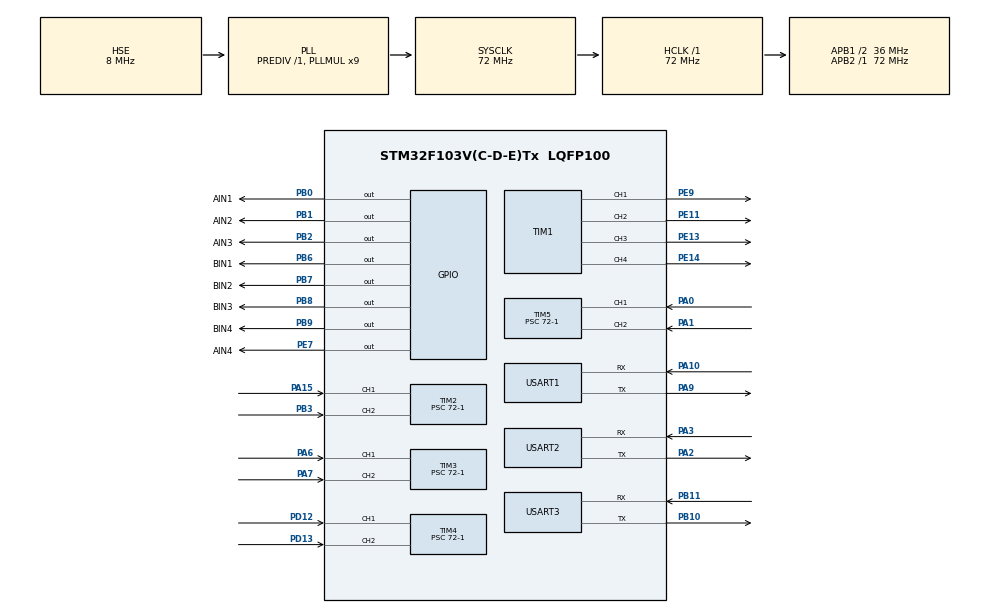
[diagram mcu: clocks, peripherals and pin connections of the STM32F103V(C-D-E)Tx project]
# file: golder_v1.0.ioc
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Dma.Request0=USART3_RX
Dma.Request1=USART2_RX
Dma.Request2=USART1_RX
Dma.USART1_RX.2.Direction=DMA_PERIPH_TO_MEMORY
Dma.USART1_RX.2.Instance=DMA1_Channel5
Dma.USART1_RX.2.MemDataAlignment=DMA_MDATAALIGN_BYTE
Dma.USART1_RX.2.MemInc=DMA_MINC_ENABLE
Dma.USART1_RX.2.Mode=DMA_NORMAL
Dma.USART1_RX.2.PeriphDataAlignment=DMA_PDATAALIGN_BYTE
Dma.USART1_RX.2.PeriphInc=DMA_PINC_DISABLE
Dma.USART1_RX.2.Priority=DMA_PRIORITY_LOW
Dma.USART2_RX.1.Direction=DMA_PERIPH_TO_MEMORY
Dma.USART2_RX.1.Instance=DMA1_Channel6
Dma.USART2_RX.1.MemDataAlignment=DMA_MDATAALIGN_BYTE
Dma.USART2_RX.1.MemInc=DMA_MINC_ENABLE
Dma.USART2_RX.1.Mode=DMA_NORMAL
Dma.USART2_RX.1.PeriphDataAlignment=DMA_PDATAALIGN_BYTE
Dma.USART2_RX.1.PeriphInc=DMA_PINC_DISABLE
Dma.USART2_RX.1.Priority=DMA_PRIORITY_LOW
Dma.USART3_RX.0.Direction=DMA_PERIPH_TO_MEMORY
Dma.USART3_RX.0.Instance=DMA1_Channel3
Dma.USART3_RX.0.MemDataAlignment=DMA_MDATAALIGN_BYTE
Dma.USART3_RX.0.MemInc=DMA_MINC_ENABLE
Dma.USART3_RX.0.Mode=DMA_NORMAL
Dma.USART3_RX.0.PeriphDataAlignment=DMA_PDATAALIGN_BYTE
Dma.USART3_RX.0.PeriphInc=DMA_PINC_DISABLE
Dma.USART3_RX.0.Priority=DMA_PRIORITY_LOW
FREERTOS.INCLUDE_vTaskDelayUntil=1
FREERTOS.INCLUDE_xEventGroupSetBitFromISR=1
FREERTOS.INCLUDE_xTimerPendFunctionCall=1
FREERTOS.MEMORY_ALLOCATION=0
FREERTOS.Tasks01=PID,-2,128,vTaskPID,Default,NULL,Dynamic,NULL,NULL;IMU,-1,128,vTaskIMU,Default,NULL,Dynamic,NULL,NULL;GOLD,0,256,vTaskGOLD,Default,NULL,Dynamic,NULL,NULL;MSGS,1,128,vTaskMSGS,Default,NULL,Dynamic,NULL,NULL;START,-3,128,vTaskSTART,Default,NULL,Dynamic,NULL,NULL
FREERTOS.configLIBRARY_MAX_SYSCALL_INTERRUPT_PRIORITY=1
FREERTOS.configTOTAL_HEAP_SIZE=5604
FREERTOS.configUSE_TIMERS=1
Mcu.Family=STM32F1
Mcu.Name=STM32F103V(C-D-E)Tx
Mcu.Package=LQFP100
NVIC.DMA1_Channel3_IRQn=true\:0\:0\:false\:false\:true\:true\:false\:true
NVIC.DMA1_Channel5_IRQn=true\:0\:0\:false\:false\:true\:true\:false\:true
NVIC.DMA1_Channel6_IRQn=true\:0\:0\:false\:false\:true\:true\:false\:true
NVIC.PriorityGroup=NVIC_PRIORITYGROUP_4
NVIC.TIM8_UP_IRQn=true\:0\:0\:false\:false\:true\:false\:false\:true
NVIC.TimeBase=TIM8_UP_IRQn
NVIC.TimeBaseIP=TIM8
NVIC.USART1_IRQn=true\:2\:0\:true\:false\:true\:false\:true\:true
NVIC.USART2_IRQn=true\:1\:0\:true\:false\:true\:false\:true\:true
NVIC.USART3_IRQn=true\:1\:0\:true\:false\:true\:false\:true\:true
OSC_IN.Mode=HSE-External-Oscillator
OSC_IN.Signal=RCC_OSC_IN
OSC_OUT.Mode=HSE-External-Oscillator
OSC_OUT.Signal=RCC_OSC_OUT
PA0-WKUP.Signal=S_TIM5_CH1
PA1.Signal=S_TIM5_CH2
PA10.Mode=Asynchronous
PA10.Signal=USART1_RX
PA13.Mode=Serial_Wire
PA13.Signal=SYS_JTMS-SWDIO
PA14.Mode=Serial_Wire
PA14.Signal=SYS_JTCK-SWCLK
PA15.Signal=S_TIM2_CH1_ETR
PA2.Mode=Asynchronous
PA2.Signal=USART2_TX
PA3.Mode=Asynchronous
PA3.Signal=USART2_RX
PA6.Signal=S_TIM3_CH1
PA7.Signal=S_TIM3_CH2
PA9.Mode=Asynchronous
PA9.Signal=USART1_TX
PB0.GPIO_Label=AIN1
PB0.Signal=GPIO_Output
PB1.GPIO_Label=AIN2
PB1.Signal=GPIO_Output
PB10.Mode=Asynchronous
PB10.Signal=USART3_TX
PB11.Mode=Asynchronous
PB11.Signal=USART3_RX
PB2.GPIO_Label=AIN3
PB2.Signal=GPIO_Output
PB3.Signal=S_TIM2_CH2
PB6.GPIO_Label=BIN1
PB6.Signal=GPIO_Output
PB7.GPIO_Label=BIN2
PB7.Signal=GPIO_Output
PB8.GPIO_Label=BIN3
PB8.Signal=GPIO_Output
PB9.GPIO_Label=BIN4
PB9.Signal=GPIO_Output
PD12.Signal=S_TIM4_CH1
PD13.Signal=S_TIM4_CH2
PE11.Signal=S_TIM1_CH2
PE13.Signal=S_TIM1_CH3
PE14.Signal=S_TIM1_CH4
PE7.GPIO_Label=AIN4
PE7.Signal=GPIO_Output
PE9.Signal=S_TIM1_CH1
ProjectManager.HeapSize=0x200
ProjectManager.StackSize=0x400
ProjectManager.TargetToolchain=Makefile
RCC.AHBFreq_Value=72000000
RCC.APB1CLKDivider=RCC_HCLK_DIV2
RCC.APB1Freq_Value=36000000
RCC.APB1TimFreq_Value=72000000
RCC.APB2Freq_Value=72000000
RCC.APB2TimFreq_Value=72000000
RCC.HCLKFreq_Value=72000000
RCC.PLLMUL=RCC_PLL_MUL9
RCC.PLLSourceVirtual=RCC_PLLSOURCE_HSE
RCC.SYSCLKFreq_VALUE=72000000
RCC.SYSCLKSource=RCC_SYSCLKSOURCE_PLLCLK
RCC.USBFreq_Value=72000000
SH.S_TIM1_CH1.0=TIM1_CH1,PWM Generation1 CH1
SH.S_TIM1_CH2.0=TIM1_CH2,PWM Generation2 CH2
SH.S_TIM1_CH3.0=TIM1_CH3,PWM Generation3 CH3
SH.S_TIM1_CH4.0=TIM1_CH4,PWM Generation4 CH4
SH.S_TIM2_CH1_ETR.0=TIM2_CH1,Encoder_Interface
SH.S_TIM2_CH2.0=TIM2_CH2,Encoder_Interface
SH.S_TIM3_CH1.0=TIM3_CH1,Encoder_Interface
SH.S_TIM3_CH2.0=TIM3_CH2,Encoder_Interface
SH.S_TIM4_CH1.0=TIM4_CH1,Encoder_Interface
SH.S_TIM4_CH2.0=TIM4_CH2,Encoder_Interface
SH.S_TIM5_CH1.0=TIM5_CH1,Encoder_Interface
SH.S_TIM5_CH2.0=TIM5_CH2,Encoder_Interface
TIM1.Channel-PWM\ Generation1\ CH1=TIM_CHANNEL_1
TIM1.Channel-PWM\ Generation2\ CH2=TIM_CHANNEL_2
TIM1.Channel-PWM\ Generation3\ CH3=TIM_CHANNEL_3
TIM1.Channel-PWM\ Generation4\ CH4=TIM_CHANNEL_4
TIM2.Period=5000
TIM2.Prescaler=72-1
TIM3.Period=5000
TIM3.Prescaler=72-1
TIM4.Period=5000
TIM4.Prescaler=72-1
TIM5.Period=5000
TIM5.Prescaler=72-1
USART1.VirtualMode=VM_ASYNC
USART2.VirtualMode=VM_ASYNC
USART3.VirtualMode=VM_ASYNC
VP_FREERTOS_VS_CMSIS_V1.Mode=CMSIS_V1
VP_SYS_VS_tim8.Mode=TIM8
board=custom

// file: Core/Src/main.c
/* USER CODE BEGIN Header */
/**
  ******************************************************************************
  * @file           : main.c
  * @brief          : Main program body
  ******************************************************************************
  * @attention
  *
  * <h2><center>&copy; Copyright (c) 2021 STMicroelectronics.
  * All rights reserved.</center></h2>
  *
  * This software component is licensed by ST under Ultimate Liberty license
  * SLA0044, the "License"; You may not use this file except in compliance with
  * the License. You may obtain a copy of the License at:
  *                             www.st.com/SLA0044
  *
  ******************************************************************************
  */
/* USER CODE END Header */
#include "main.h"
#include "cmsis_os.h"
#include "dma.h"
#include "tim.h"
#include "usart.h"
#include "gpio.h"

/* USER CODE BEGIN PD */
#define BIT_0 (1 << 0)
#define BIT_1 (1 << 1)
#define imuRxBufferLength 15
#define msgsRxBufferLength 6
#define highRxBufferLength 200
/* USER CODE END PD */

/* USER CODE BEGIN PV */
uint8_t imuIndex;
uint8_t msgsRxLen;
uint8_t msgsRxBuffer[msgsRxBufferLength];
uint8_t imuRxBuffer[imuRxBufferLength];
uint8_t highRxBuffer[highRxBufferLength];

extern TaskHandle_t xHandleTaskSTART;
extern TaskHandle_t xHandleTaskMSGS;
extern TaskHandle_t xHandleTaskGOLD;
extern TaskHandle_t xHandleTaskIMU;
extern TaskHandle_t xHandleTaskPID;

extern EventGroupHandle_t xCreatedEventMSGS;
extern EventGroupHandle_t xCreatedEventIMU;
extern EventGroupHandle_t xCreatedEventGOLD;
/* USER CODE END PV */

void SystemClock_Config(void);
void MX_FREERTOS_Init(void);

/* USER CODE BEGIN 0 */
void HAL_UARTEx_RxEventCallback(UART_HandleTypeDef *huart, uint16_t Size)
{
	BaseType_t xResult;
	BaseType_t xHigherPriorityTaskWoken = pdFALSE;

	if(huart->Instance == USART1)
	{
		msgsRxLen = Size;
		xResult = xEventGroupSetBitsFromISR(xCreatedEventMSGS, BIT_0, &xHigherPriorityTaskWoken);

		if(xResult != pdFALSE)
      portYIELD_FROM_ISR(xHigherPriorityTaskWoken);

		#ifdef DEBUG_INFO
      HAL_UART_Transmit(&huart1, msgsRxBuffer, msgsRxBufferLength, 100);
		#endif

		HAL_UARTEx_ReceiveToIdle_DMA(&huart1, msgsRxBuffer, msgsRxBufferLength);
	}

	else if(huart->Instance == USART2)
	{
		for(int i=0;i<=10;i++)
		{
			if(imuRxBuffer[i] == 0x55)
			{
				imuIndex = i;
				break;
			}
		}
		if(imuIndex <= 11)
		{
			xResult = xEventGroupSetBitsFromISR(xCreatedEventIMU, BIT_0, &xHigherPriorityTaskWoken);

			if(xResult != pdFALSE)
        portYIELD_FROM_ISR(xHigherPriorityTaskWoken);

			#ifdef IMU_INFO
			  HAL_UART_Transmit(&huart1, imuRxBuffer, imuRxBufferLength, 100);
			#endif
		}
		else printf("IMU header not find!");

		HAL_UARTEx_ReceiveToIdle_DMA(&huart2, imuRxBuffer, imuRxBufferLength);
	}

  else if(huart->Instance == USART3)
  {
    xResult = xEventGroupSetBitsFromISR(xCreatedEventMSGS, BIT_1, &xHigherPriorityTaskWoken);

    if(xResult != pdFALSE)
      portYIELD_FROM_ISR(xHigherPriorityTaskWoken);

    #ifdef GOLD_INFO
      HAL_UART_Transmit(&huart1, highRxBuffer, highRxBufferLength, 100);
    #endif

    HAL_UARTEx_ReceiveToIdle_DMA(&huart3, highRxBuffer, highRxBufferLength);
  }
}

int fputc(int ch, FILE *f)
{																													//redirect printf
	HAL_UART_Transmit(&huart1,(uint8_t*)&ch,1,100);
  return ch;
}

/* USER CODE END 0 */

int main(void)
{

  /* MCU Configuration--------------------------------------------------------*/

  /* Reset of all peripherals, Initializes the Flash interface and the Systick. */
  HAL_Init();

  /* Configure the system clock */
  SystemClock_Config();

  /* Initialize all configured peripherals */
  MX_GPIO_Init();
  MX_DMA_Init();
  MX_TIM1_Init();
  MX_TIM2_Init();
  MX_TIM3_Init();
  MX_TIM4_Init();
  MX_TIM5_Init();
  MX_USART1_UART_Init();
  MX_USART2_UART_Init();
  MX_USART3_UART_Init();
  /* USER CODE BEGIN 2 */
  HAL_UARTEx_ReceiveToIdle_DMA(&huart1, msgsRxBuffer, msgsRxBufferLength);
  HAL_UARTEx_ReceiveToIdle_DMA(&huart2, imuRxBuffer, imuRxBufferLength);
  HAL_UARTEx_ReceiveToIdle_DMA(&huart3, highRxBuffer, highRxBufferLength);

  HAL_TIM_PWM_Start(&htim1, TIM_CHANNEL_ALL);

  HAL_TIM_Encoder_Start(&htim2, TIM_CHANNEL_ALL);
  HAL_TIM_Encoder_Start(&htim3, TIM_CHANNEL_ALL);
  HAL_TIM_Encoder_Start(&htim4, TIM_CHANNEL_ALL);
  HAL_TIM_Encoder_Start(&htim5, TIM_CHANNEL_ALL);

  /* USER CODE END 2 */

  /* Call init function for freertos objects (in freertos.c) */
  MX_FREERTOS_Init();
  /* Start scheduler */
  osKernelStart();

  /* We should never get here as control is now taken by the scheduler */
  /* Infinite loop */
  while (1)
  {

  }
}

void SystemClock_Config(void)
{
  RCC_OscInitTypeDef RCC_OscInitStruct = {0};
  RCC_ClkInitTypeDef RCC_ClkInitStruct = {0};

  /** Initializes the RCC Oscillators according to the specified parameters
  * in the RCC_OscInitTypeDef structure.
  */
  RCC_OscInitStruct.OscillatorType = RCC_OSCILLATORTYPE_HSE;
  RCC_OscInitStruct.HSEState = RCC_HSE_ON;
  RCC_OscInitStruct.HSEPredivValue = RCC_HSE_PREDIV_DIV1;
  RCC_OscInitStruct.HSIState = RCC_HSI_ON;
  RCC_OscInitStruct.PLL.PLLState = RCC_PLL_ON;
  RCC_OscInitStruct.PLL.PLLSource = RCC_PLLSOURCE_HSE;
  RCC_OscInitStruct.PLL.PLLMUL = RCC_PLL_MUL9;
  if (HAL_RCC_OscConfig(&RCC_OscInitStruct) != HAL_OK)
  {
    Error_Handler();
  }
  /** Initializes the CPU, AHB and APB buses clocks
  */
  RCC_ClkInitStruct.ClockType = RCC_CLOCKTYPE_HCLK|RCC_CLOCKTYPE_SYSCLK
                              |RCC_CLOCKTYPE_PCLK1|RCC_CLOCKTYPE_PCLK2;
  RCC_ClkInitStruct.SYSCLKSource = RCC_SYSCLKSOURCE_PLLCLK;
  RCC_ClkInitStruct.AHBCLKDivider = RCC_SYSCLK_DIV1;
  RCC_ClkInitStruct.APB1CLKDivider = RCC_HCLK_DIV2;
  RCC_ClkInitStruct.APB2CLKDivider = RCC_HCLK_DIV1;

  if (HAL_RCC_ClockConfig(&RCC_ClkInitStruct, FLASH_LATENCY_2) != HAL_OK)
  {
    Error_Handler();
  }
}

void HAL_TIM_PeriodElapsedCallback(TIM_HandleTypeDef *htim)
{
  if (htim->Instance == TIM8) {
    HAL_IncTick();
  }
}

void Error_Handler(void)
{
}

/************************ (C) COPYRIGHT STMicroelectronics *****END OF FILE****/

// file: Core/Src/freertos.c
/* USER CODE BEGIN Header */
/**
  ******************************************************************************
  * File Name          : freertos.c
  * Description        : Code for freertos applications
  ******************************************************************************
  * @attention
  *
  * <h2><center>&copy; Copyright (c) 2021 STMicroelectronics.
  * All rights reserved.</center></h2>
  *
  * This software component is licensed by ST under Ultimate Liberty license
  * SLA0044, the "License"; You may not use this file except in compliance with
  * the License. You may obtain a copy of the License at:
  *                             www.st.com/SLA0044
  *
  ******************************************************************************
  */
/* USER CODE END Header */

#include "FreeRTOS.h"
#include "task.h"
#include "main.h"
#include "cmsis_os.h"

/* USER CODE BEGIN Includes */
#include "motor.h"
#include "tim.h"
#include "gpio.h"
/* USER CODE END Includes */

/* USER CODE BEGIN PD */
#define BIT_0 (1 << 0)
#define BIT_1 (1 << 1)

#define MOTOR_NUM 4
#define PID_CYCLE 50

#define NO 0
#define FRONT 1
#define BACK 2

#define imuRxBufferLength 100
#define msgsRxBufferLength 6
/* USER CODE END PD */

/* USER CODE BEGIN Variables */
pid_instance m[MOTOR_NUM];
short count[MOTOR_NUM];
const float k[MOTOR_NUM] = {0.2084f, 0.1926f, 0.2084f, 0.2084f};
uint16_t pwm[MOTOR_NUM];
float speedActual[MOTOR_NUM];

uint8_t dir = NO;
float speedSet;
float ang = 0;

extern uint8_t imuRxBuffer[imuRxBufferLength];
extern uint8_t imuIndex;

int timeStart = 0;
int timeEnd = 0;

extern uint8_t msgsRxBuffer[msgsRxBufferLength];
extern uint8_t msgsRxLen;

EventGroupHandle_t xCreatedEventMSGS = NULL;
EventGroupHandle_t xCreatedEventIMU = NULL;
EventGroupHandle_t xCreatedEventGOLD = NULL;
/* USER CODE END Variables */
osThreadId PIDHandle;
osThreadId IMUHandle;
osThreadId GOLDHandle;
osThreadId MSGSHandle;
osThreadId STARTHandle;

/* USER CODE BEGIN FunctionPrototypes */

inline void AppObjCreate(void)
{
	xCreatedEventMSGS = xEventGroupCreate();
	xCreatedEventIMU = xEventGroupCreate();
  xCreatedEventGOLD = xEventGroupCreate();
}

inline void motorInit(void)
{
  for(int i=0;i<MOTOR_NUM;i++)
  {
    m[i].Kp = 0.55f;m[i].Ki = 0.25f;m[i].Kd = -0.15f;
    pid_init(&m[i], 0);
  }
	dir = FRONT;
}
/* USER CODE END FunctionPrototypes */

void vTaskPID(void const * argument);
void vTaskIMU(void const * argument);
void vTaskGOLD(void const * argument);
void vTaskMSGS(void const * argument);
void vTaskSTART(void const * argument);

void MX_FREERTOS_Init(void); /* (MISRA C 2004 rule 8.1) */

void MX_FREERTOS_Init(void) {
  /* USER CODE BEGIN Init */
  AppObjCreate();
  motorInit();
  /* USER CODE END Init */

  /* Create the thread(s) */
  /* definition and creation of PID */
  osThreadDef(PID, vTaskPID, osPriorityLow, 0, 128);
  PIDHandle = osThreadCreate(osThread(PID), NULL);

  /* definition and creation of IMU */
  osThreadDef(IMU, vTaskIMU, osPriorityBelowNormal, 0, 128);
  IMUHandle = osThreadCreate(osThread(IMU), NULL);

  /* definition and creation of GOLD */
  osThreadDef(GOLD, vTaskGOLD, osPriorityNormal, 0, 256);
  GOLDHandle = osThreadCreate(osThread(GOLD), NULL);

  /* definition and creation of MSGS */
  osThreadDef(MSGS, vTaskMSGS, osPriorityAboveNormal, 0, 128);
  MSGSHandle = osThreadCreate(osThread(MSGS), NULL);

  /* definition and creation of START */
  osThreadDef(START, vTaskSTART, osPriorityIdle, 0, 128);
  STARTHandle = osThreadCreate(osThread(START), NULL);

}

void vTaskPID(void const * argument)
{
  /* USER CODE BEGIN vTaskPID */
  TickType_t xLastWakeTime;
	xLastWakeTime = xTaskGetTickCount();
  /* Infinite loop */
  for(;;)
  {
    count[0] = __HAL_TIM_GetCounter(&htim2);
    count[1] = __HAL_TIM_GetCounter(&htim3);
    count[2] = __HAL_TIM_GetCounter(&htim4);
    count[3] = __HAL_TIM_GetCounter(&htim5);
    for(int i=0;i<MOTOR_NUM;i++)
    {
      speedActual[i] = k[i] * count[i];
      pwm[i] = pid(&m[i], speedSet - speedActual[i]);
    }
    #ifdef PID_INFO
      printf("%f,%f",speedActual,speedSet);
    #endif

    #ifdef ENCODER_INFO
    for(int i=0;i<MOTOR_NUM;i++)
      printf("count%d:%d", i, count[i]);
    printf("Time:%d", xLastWakeTime - xTaskGetTickCount());
    #else
    __HAL_TIM_SetCounter(&htim2, 0);
    __HAL_TIM_SetCounter(&htim3, 0);
    __HAL_TIM_SetCounter(&htim4, 0);
    __HAL_TIM_SetCounter(&htim5, 0);
    #endif

    __HAL_TIM_SetCompare(&htim1, TIM_CHANNEL_1, pwm[0]);
    __HAL_TIM_SetCompare(&htim1, TIM_CHANNEL_2, pwm[1]);
    __HAL_TIM_SetCompare(&htim1, TIM_CHANNEL_3, pwm[2]);
    __HAL_TIM_SetCompare(&htim1, TIM_CHANNEL_4, pwm[3]);

    if (pwm[0] >= 0)
    {
      HAL_GPIO_WritePin(AIN1_GPIO_Port, AIN1_Pin, GPIO_PIN_SET);
      HAL_GPIO_WritePin(AIN2_GPIO_Port, AIN2_Pin, GPIO_PIN_RESET);
      __HAL_TIM_SetCompare(&htim1, TIM_CHANNEL_1, pwm[0]);
    }
    else
    {
      HAL_GPIO_WritePin(AIN1_GPIO_Port, AIN1_Pin, GPIO_PIN_RESET);
      HAL_GPIO_WritePin(AIN2_GPIO_Port, AIN2_Pin, GPIO_PIN_SET);
      __HAL_TIM_SET_COMPARE(&htim1, TIM_CHANNEL_1, -pwm[0]);
    }
    if (pwm[1] >= 0)
    {
      HAL_GPIO_WritePin(AIN3_GPIO_Port, AIN3_Pin, GPIO_PIN_SET);
      HAL_GPIO_WritePin(AIN4_GPIO_Port, AIN4_Pin, GPIO_PIN_RESET);
      __HAL_TIM_SET_COMPARE(&htim1, TIM_CHANNEL_2, pwm[1]);
    }
    else
    {
      HAL_GPIO_WritePin(AIN3_GPIO_Port, AIN3_Pin, GPIO_PIN_RESET);
      HAL_GPIO_WritePin(AIN4_GPIO_Port, AIN4_Pin, GPIO_PIN_SET);
      __HAL_TIM_SET_COMPARE(&htim1, TIM_CHANNEL_2, -pwm[1]);
    }
    if (pwm[2] >= 0)
    {
      HAL_GPIO_WritePin(BIN1_GPIO_Port, BIN1_Pin, GPIO_PIN_RESET);
      HAL_GPIO_WritePin(BIN2_GPIO_Port, BIN2_Pin, GPIO_PIN_SET);
      __HAL_TIM_SET_COMPARE(&htim1, TIM_CHANNEL_3, pwm[2]);
    }
    else
    {
      HAL_GPIO_WritePin(BIN1_GPIO_Port, BIN1_Pin, GPIO_PIN_SET);
      HAL_GPIO_WritePin(BIN2_GPIO_Port, BIN2_Pin, GPIO_PIN_RESET);
      __HAL_TIM_SET_COMPARE(&htim1, TIM_CHANNEL_3, -pwm[2]);
    }
    if (pwm[3] >= 0)
    {
      HAL_GPIO_WritePin(BIN3_GPIO_Port, BIN3_Pin, GPIO_PIN_SET);
      HAL_GPIO_WritePin(BIN4_GPIO_Port, BIN4_Pin, GPIO_PIN_RESET);
      __HAL_TIM_SET_COMPARE(&htim1, TIM_CHANNEL_4, pwm[3]);
    }
    else
    {
      HAL_GPIO_WritePin(BIN3_GPIO_Port, BIN3_Pin, GPIO_PIN_RESET);
      HAL_GPIO_WritePin(BIN4_GPIO_Port, BIN4_Pin, GPIO_PIN_SET);
      __HAL_TIM_SET_COMPARE(&htim1, TIM_CHANNEL_4, -pwm[3]);
    }

    osDelayUntil(&xLastWakeTime, PID_CYCLE);
  }
  /* USER CODE END vTaskPID */
}

void vTaskIMU(void const * argument)
{
  /* USER CODE BEGIN vTaskIMU */
  EventBits_t uxBits;
  /* Infinite loop */
  for(;;)
  {
    uxBits = xEventGroupWaitBits(xCreatedEventIMU, BIT_0, pdTRUE, pdFALSE, portMAX_DELAY);
		if(uxBits == BIT_0)
		{
			while(imuRxBuffer[imuIndex] == 0x55)
			{
				switch(imuRxBuffer[imuIndex + 1])
				{
					case 0x53:
            ang = ((imuRxBuffer[imuIndex + 8] << 8) | imuRxBuffer[imuIndex + 7])*0.0054932f;
            break;
					default:
            printf("IMU data error!");
						break;
				}
			}
    }
  }
  /* USER CODE END vTaskIMU */
}

void vTaskGOLD(void const * argument)
{
  /* USER CODE BEGIN vTaskGOLD */
  /* Infinite loop */
  for(;;)
  {
    vTaskDelete(NULL);
    osDelay(1);
  }
  /* USER CODE END vTaskGOLD */
}

void vTaskMSGS(void const * argument)
{
  /* USER CODE BEGIN vTaskMSGS */
  EventBits_t uxBits;
  /* Infinite loop */
  for(;;)
  {
    uxBits = xEventGroupWaitBits(xCreatedEventMSGS, BIT_1 | BIT_0, pdTRUE, pdFALSE, portMAX_DELAY);
		if(uxBits == BIT_0)
		{
			memset(msgsRxBuffer, 0, msgsRxBufferLength);
    }
    else if(uxBits == BIT_1)
    {
      memset(msgsRxBuffer, 0, msgsRxBufferLength);
    }
  }
  /* USER CODE END vTaskMSGS */
}

void vTaskSTART(void const * argument)
{
  /* USER CODE BEGIN vTaskSTART */
  /* Infinite loop */
  for(;;)
  {
    vTaskDelete(NULL);
    osDelay(1);
  }
  /* USER CODE END vTaskSTART */
}

/************************ (C) COPYRIGHT STMicroelectronics *****END OF FILE****/
